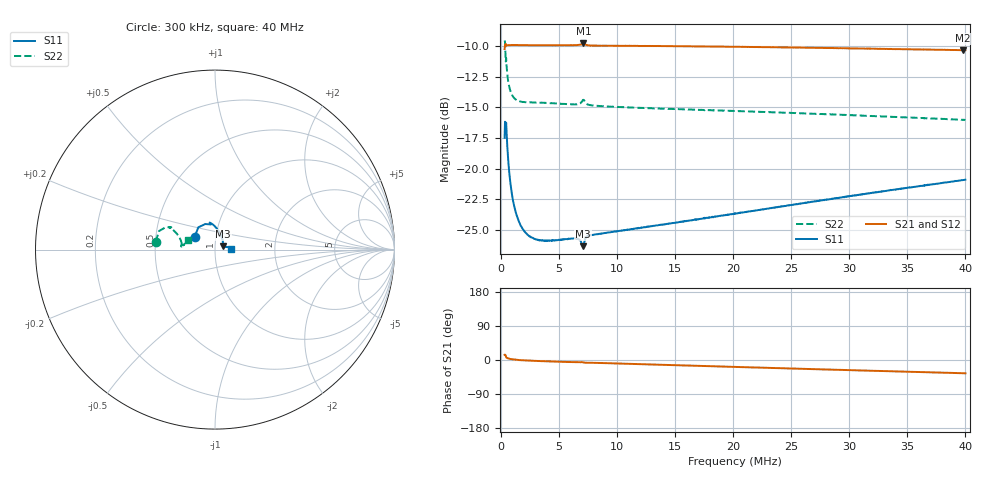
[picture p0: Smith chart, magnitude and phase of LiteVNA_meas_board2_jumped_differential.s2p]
! Differential S-parameters generated from single-ended measurements
# Hz S RI R 100
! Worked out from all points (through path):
!   1206 points, 300 kHz to 40 MHz, reference 100 ohm
!   highest |S21| = -9.78 dB at 7.087 MHz (marker M1); lowest = -10.3 dB at 39.77 MHz (marker M2)
!   group delay of S21, straight-line fit = 2.5 ns
!   lowest |S11| = -26.3 dB at 7.054 MHz (marker M3), VSWR 1.10, Z = 109 + j3.85 ohm
!   |S11| at or under -10 dB: start of sweep to end of sweep
!   |S22| runs from -16.0 to -9.6 dB; largest |S21 - S12| = 0.0054
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300000  -0.113 0.071  0.2986 0.0718  0.2984 0.0685  -0.3299 0.0444
398838  -0.0231 0.1399  0.3159 0.0653  0.319 0.0609  -0.2433 0.1245
530622  0.00553 0.123  0.3167 0.0288  0.3171 0.0314  -0.2214 0.0985
662406  0.0238 0.0978  0.318 0.0202  0.3193 0.0228  -0.2051 0.0783
827136  0.034 0.0781  0.3188 0.0134  0.3204 0.0157  -0.1955 0.0622
1024812  0.0395 0.0625  0.3187 0.00793  0.3204 0.0102  -0.1899 0.05
1255434  0.0427 0.0508  0.319 0.0034  0.3208 0.00574  -0.1871 0.0404
1551948  0.0445 0.0409  0.3188 -0.00095  0.321 0.00142  -0.1853 0.0326
1881408  0.0454 0.0338  0.3185 -0.00471  0.3209 -0.00239  -0.1847 0.027
2408544  0.0456 0.0271  0.3184 -0.00926  0.321 -0.0071  -0.1848 0.0224
3133356  0.0459 0.0225  0.3181 -0.0146  0.3208 -0.0123  -0.1846 0.0199
6395010  0.0494 0.0159  0.3171 -0.0318  0.3199 -0.0301  -0.1816 0.0188
6922146  0.0467 0.0159  0.3193 -0.031  0.3229 -0.0312  -0.1859 0.0164
7053930  0.0449 0.0176  0.3223 -0.0346  0.3255 -0.0345  -0.1894 0.0199
7086876  0.045 0.0184  0.3225 -0.0358  0.3258 -0.036  -0.1895 0.0217
7646958  0.0498 0.0191  0.3149 -0.0402  0.3186 -0.0403  -0.1798 0.0242
1.354429e7  0.0563 0.0165  0.3089 -0.0676  0.3121 -0.0684  -0.1738 0.0272
2.016644e7  0.0635 0.0156  0.2978 -0.0982  0.3016 -0.0997  -0.1682 0.0343
2.678858e7  0.0719 0.0141  0.284 -0.1264  0.2874 -0.1288  -0.1622 0.0415
3.341073e7  0.0807 0.0108  0.2673 -0.1519  0.2702 -0.1551  -0.1556 0.0477
3.976931e7  0.0896 0.00612  0.2492 -0.1737  0.2515 -0.1772  -0.1488 0.053
3.999993e7  0.0899 0.00585  0.2486 -0.1746  0.2509 -0.1782  -0.1486 0.0531
